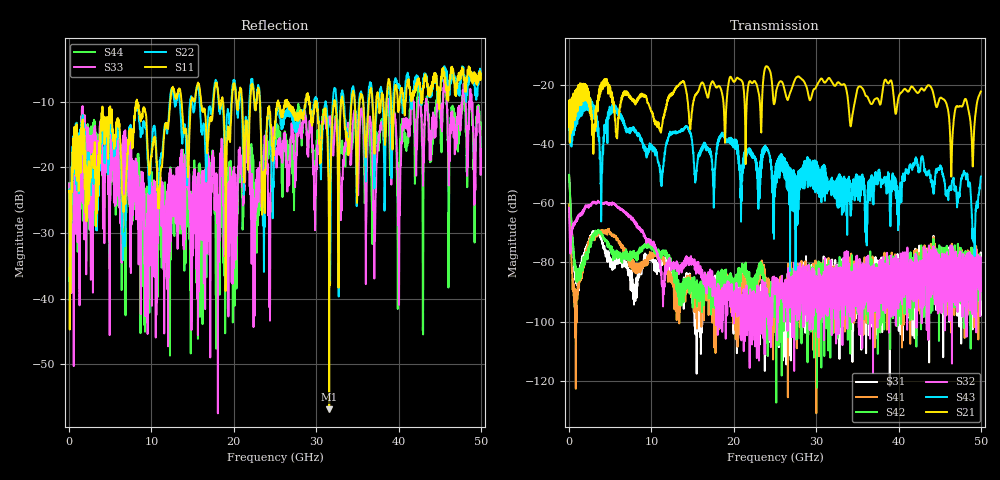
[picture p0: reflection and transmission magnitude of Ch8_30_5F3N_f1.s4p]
!Agilent Technologies,N5247A,US51170199,A.09.90.13
!Agilent N5247A: A.09.90.13
!Date: Wednesday, December 16, 2015 10:20:27
!Correction: S11(Full 4 Port(1,2,3,4))
!S12(Full 4 Port(1,2,3,4))
!S13(Full 4 Port(1,2,3,4))
!S14(Full 4 Port(1,2,3,4))
!S21(Full 4 Port(1,2,3,4))
!S22(Full 4 Port(1,2,3,4))
!S23(Full 4 Port(1,2,3,4))
!S24(Full 4 Port(1,2,3,4))
!S31(Full 4 Port(1,2,3,4))
!S32(Full 4 Port(1,2,3,4))
!S33(Full 4 Port(1,2,3,4))
!S34(Full 4 Port(1,2,3,4))
!S41(Full 4 Port(1,2,3,4))
!S42(Full 4 Port(1,2,3,4))
!S43(Full 4 Port(1,2,3,4))
!S44(Full 4 Port(1,2,3,4))
!S4P File: Measurements: <S11,S12,S13,S14>,
!<S21,S22,S23,S24>,
!<S31,S32,S33,S34>,
!<S41,S42,S43,S44>:
# Hz S  dB  R 50
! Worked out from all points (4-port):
!   3201 points, 10 MHz to 50 GHz, reference 50 ohm
!   strongest paths, dB at 10 MHz, 12.51 GHz, 25 GHz, 37.5 GHz, 50 GHz:
!     S21: -34.4, -23.4, -25.5, -24.8, -22.3
!     S43: -35.3, -36.3, -49.4, -50.2, -51.0
!     S32: -61.6, -80.6, -87.0, -85.6, -89.7
!     S42: -50.4, -81.3, -90.1, -84.0, -92.5
!     S41: -60.4, -86.4, -93.6, -81.0, -82.2
!     S31: -50.9, -85.5, -95.5, -89.4, -83.0
!   lowest |S11| = -56.9 dB at 31.58 GHz (marker M1), VSWR 1.00, Z = 50.1 + j0.134 ohm
!   |S11| at or under -10 dB: start of sweep to 8.124 GHz; 8.253 GHz to 12.28 GHz (4.023 GHz wide, 39.2 % of centre); 23.18 GHz to 25.35 GHz (2.174 GHz wide, 8.96 % of centre)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
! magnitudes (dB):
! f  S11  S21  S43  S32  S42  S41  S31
! 10 MHz  -23.8  -34.4  -35.3  -61.6  -50.4  -60.4  -50.9
! 869.2 MHz  -21.3  -26.9  -27.9  -66.3  -83.2  -96.9  -85.0
! 3.931 GHz  -12.5  -19.8  -55.7  -60.0  -70.3  -69.4  -72.4
! 20.13 GHz  -7.8  -18.9  -38.5  -90.7  -88.8  -90.0  -92.0
! 31.58 GHz  -56.9  -17.7  -53.5  -83.0  -88.9  -104.3  -85.5
! 46.42 GHz  -5.4  -49.0  -54.8  -76.2  -95.9  -74.5  -87.7
! 50 GHz  -5.7  -22.3  -51.0  -89.7  -92.5  -82.2  -83.0
